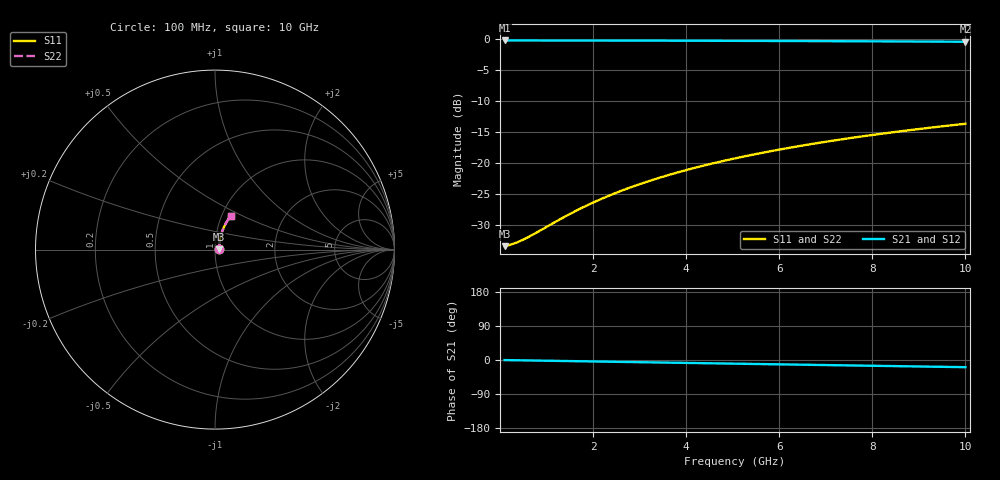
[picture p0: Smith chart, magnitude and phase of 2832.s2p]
# Hz S RI R 50.00
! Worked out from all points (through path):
!   100 points, 100 MHz to 10 GHz, reference 50 ohm
!   highest |S21| = -0.19 dB at 100 MHz (marker M1); lowest = -0.4 dB at 10 GHz (marker M2)
!   group delay of S21, straight-line fit = 5.26 ps
!   lowest |S11| = -33.3 dB at 100 MHz (marker M3), VSWR 1.04, Z = 52.2 + j0.217 ohm
!   |S11| at or under -10 dB: start of sweep to end of sweep
!   |S22| runs from -33.3 to -13.6 dB; largest |S21 - S12| = 0
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1e8  0.0214 0.00208  0.9786 -0.00328  0.9786 -0.00328  0.0214 0.00208
2e8  0.0216 0.00415  0.9784 -0.00657  0.9784 -0.00657  0.0216 0.00415
3e8  0.0217 0.00622  0.9782 -0.00985  0.9782 -0.00985  0.0217 0.00622
4e8  0.0219 0.0083  0.9781 -0.0131  0.9781 -0.0131  0.0219 0.0083
5e8  0.022 0.0104  0.978 -0.0164  0.978 -0.0164  0.022 0.0104
7e8  0.0223 0.0145  0.9777 -0.023  0.9777 -0.023  0.0223 0.0145
1.4e9  0.0236 0.029  0.9762 -0.0459  0.9762 -0.0459  0.0236 0.029
1.8e9  0.0246 0.0372  0.9751 -0.0589  0.9751 -0.0589  0.0246 0.0372
2.2e9  0.0258 0.0454  0.9738 -0.0719  0.9738 -0.0719  0.0258 0.0454
2.6e9  0.0272 0.0535  0.9722 -0.0849  0.9722 -0.0849  0.0272 0.0535
3e9  0.0289 0.0616  0.9704 -0.0978  0.9704 -0.0978  0.0289 0.0616
3.4e9  0.0307 0.0696  0.9684 -0.1107  0.9684 -0.1107  0.0307 0.0696
3.8e9  0.0327 0.0776  0.9661 -0.1235  0.9661 -0.1235  0.0327 0.0776
4.2e9  0.035 0.0855  0.9637 -0.1363  0.9637 -0.1363  0.035 0.0855
4.6e9  0.0375 0.0933  0.9609 -0.1489  0.9609 -0.1489  0.0375 0.0933
5.1e9  0.0408 0.103  0.9572 -0.1647  0.9572 -0.1647  0.0408 0.103
5.9e9  0.0468 0.1182  0.9506 -0.1896  0.9506 -0.1896  0.0468 0.1182
6.7e9  0.0536 0.133  0.943 -0.214  0.943 -0.214  0.0536 0.133
7.5e9  0.0611 0.1473  0.9347 -0.2381  0.9347 -0.2381  0.0611 0.1473
8.4e9  0.0703 0.1629  0.9244 -0.2645  0.9244 -0.2645  0.0703 0.1629
9.2e9  0.0793 0.1761  0.9144 -0.2875  0.9144 -0.2875  0.0793 0.1761
1e10  0.0888 0.1888  0.9037 -0.31  0.9037 -0.31  0.0888 0.1888
